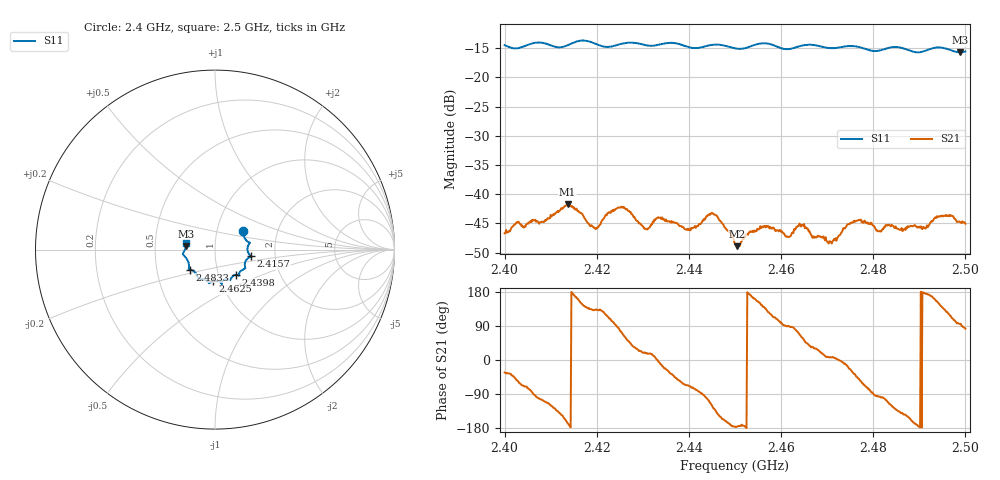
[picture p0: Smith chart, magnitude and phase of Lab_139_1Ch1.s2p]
# Hz S RI R 50
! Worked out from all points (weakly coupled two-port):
!   601 points, 2.4 GHz to 2.5 GHz, reference 50 ohm
!   highest |S21| = -41.74 dB at 2.4137 GHz (marker M1); lowest = -48.9 dB at 2.4505 GHz (marker M2)
!   lowest |S11| = -15.7 dB at 2.4988 GHz (marker M3), VSWR 1.39, Z = 36 + j1.36 ohm
!   |S11| at or under -10 dB: start of sweep to end of sweep
!   S12 and S22 are empty: the file has one direction only
!   S11 on the Smith chart (normalised r, x): 2.4 GHz: 1.33, +0.29; 2.4157 GHz: 1.49, -0.12; 2.4398 GHz: 1.21, -0.35; 2.4625 GHz: 0.92, -0.34; 2.4833 GHz: 0.74, -0.17; 2.5 GHz: 0.72, +0.06
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2.4e9  0.1563 0.1056  0.00389 -0.00251  0 0  0 0
2.413667e9  0.187 -0.0205  -0.00797 -0.00188  0 0  0 0
2.415667e9  0.1995 -0.0369  -0.00712 0.00219  0 0  0 0
2.416667e9  0.2026 -0.0401  -0.00594 0.0035  0 0  0 0
2.419667e9  0.1891 -0.0446  -0.00342 0.00373  0 0  0 0
2.425e9  0.1672 -0.095  0.0015 0.00754  0 0  0 0
2.430667e9  0.149 -0.1156  0.0048 0.00154  0 0  0 0
2.433333e9  0.1342 -0.1343  0.00634 -0.000412  0 0  0 0
2.439833e9  0.1163 -0.1395  0.00196 -0.00468  0 0  0 0
2.445333e9  0.0848 -0.1702  -0.00419 -0.00538  0 0  0 0
2.45e9  0.0641 -0.1653  -0.00372 -0.000276  0 0  0 0
2.4505e9  0.059 -0.1656  -0.00358 -0.000302  0 0  0 0
2.456e9  0.0384 -0.1918  -0.00411 0.00336  0 0  0 0
2.4625e9  -0.0105 -0.1769  0.000276 0.00469  0 0  0 0
2.4645e9  -0.0283 -0.1846  0.00277 0.00471  0 0  0 0
2.466667e9  -0.0335 -0.1869  0.00356 0.0025  0 0  0 0
2.470667e9  -0.0548 -0.1691  0.0039 0.000523  0 0  0 0
2.476333e9  -0.0943 -0.1577  0.00424 -0.00412  0 0  0 0
2.481167e9  -0.1216 -0.1174  -0.000571 -0.00478  0 0  0 0
2.483333e9  -0.1398 -0.1114  -0.00213 -0.00506  0 0  0 0
2.498833e9  -0.1624 0.0183  -0.000532 0.00575  0 0  0 0
2.5e9  -0.1624 0.0373  0.000708 0.00556  0 0  0 0
